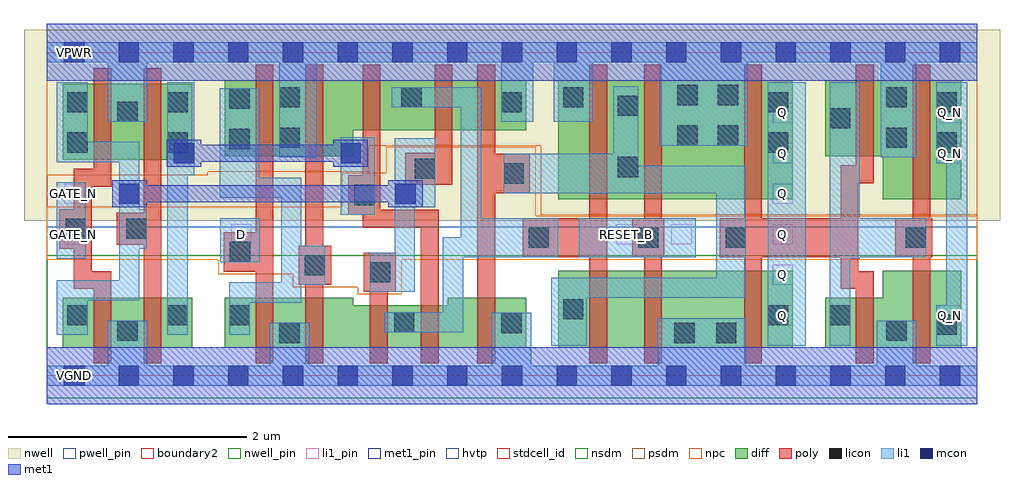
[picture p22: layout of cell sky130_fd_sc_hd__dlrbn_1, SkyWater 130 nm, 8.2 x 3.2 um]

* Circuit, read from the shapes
.subckt sky130_fd_sc_hd__dlrbn_1 D GATE_N Q Q_N RESET_B VGND VNB VPB VPWR
XM1 VGND GATE_N n1 VNB sky130_fd_pr__nfet_01v8 w=0.42 l=0.15
XM2 n2 n1 VGND VNB sky130_fd_pr__nfet_01v8 w=0.42 l=0.15
XM3 VGND D n3 VNB sky130_fd_pr__nfet_01v8 w=0.42 l=0.15
XM4 n4 n3 VGND VNB sky130_fd_pr__nfet_01v8 w=0.42 l=0.15
XM5 n5 n1 n4 VNB sky130_fd_pr__nfet_01v8 w=0.36 l=0.15
XM6 n6 n2 n5 VNB sky130_fd_pr__nfet_01v8 w=0.36 l=0.15
XM7 VGND n7 n6 VNB sky130_fd_pr__nfet_01v8 w=0.42 l=0.15
XM8 n8 n5 n7 VNB sky130_fd_pr__nfet_01v8 w=0.65 l=0.15
XM9 VGND RESET_B n8 VNB sky130_fd_pr__nfet_01v8 w=0.65 l=0.15
XM10 Q n7 VGND VNB sky130_fd_pr__nfet_01v8 w=0.65 l=0.15
XM11 VGND n7 n9 VNB sky130_fd_pr__nfet_01v8 w=0.42 l=0.15
XM12 Q_N n9 VGND VNB sky130_fd_pr__nfet_01v8 w=0.65 l=0.15
XM13 VPWR GATE_N n1 VPB sky130_fd_pr__pfet_01v8_hvt w=0.64 l=0.15
XM14 n2 n1 VPWR VPB sky130_fd_pr__pfet_01v8_hvt w=0.64 l=0.15
XM15 VPWR D n3 VPB sky130_fd_pr__pfet_01v8_hvt w=0.64 l=0.15
XM16 n10 n3 VPWR VPB sky130_fd_pr__pfet_01v8_hvt w=0.64 l=0.15
XM17 n5 n2 n10 VPB sky130_fd_pr__pfet_01v8_hvt w=0.42 l=0.15
XM18 n11 n1 n5 VPB sky130_fd_pr__pfet_01v8_hvt w=0.42 l=0.15
XM19 VPWR n7 n11 VPB sky130_fd_pr__pfet_01v8_hvt w=0.42 l=0.15
XM20 n7 n5 VPWR VPB sky130_fd_pr__pfet_01v8_hvt w=1 l=0.15
XM21 VPWR RESET_B n7 VPB sky130_fd_pr__pfet_01v8_hvt w=1 l=0.15
XM22 Q n7 VPWR VPB sky130_fd_pr__pfet_01v8_hvt w=1 l=0.15
XM23 VPWR n7 n9 VPB sky130_fd_pr__pfet_01v8_hvt w=0.64 l=0.15
XM24 Q_N n9 VPWR VPB sky130_fd_pr__pfet_01v8_hvt w=1 l=0.15
.ends

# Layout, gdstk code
import gdstk
lib = gdstk.Library(unit=1e-6, precision=1e-09)
def R(c, l, rs):  # rectangles x0, y0, x1, y1
    for r in rs: c.add(gdstk.rectangle(r[:2], r[2:], *l))
def A(c, l, x, y, w, h, nx, ny, dx, dy):  # array of equal rectangles
    R(c, l, [(x+i*dx, y+j*dy, x+i*dx+w, y+j*dy+h) for i in range(nx) for j in range(ny)])
def P(c, l, *ps):  # polygons
    for p in ps: c.add(gdstk.Polygon(p, *l))
nwell_pin = (64, 16)
nwell = (64, 20)
diff = (65, 20)
poly = (66, 20)
licon = (66, 44)
li1_pin = (67, 16)
li1 = (67, 20)
mcon = (67, 44)
met1_pin = (68, 16)
met1 = (68, 20)
hvtp = (78, 44)
stdcell_id = (81, 4)
nsdm = (93, 44)
psdm = (94, 20)
npc = (95, 20)
pwell_pin = (122, 16)
boundary2 = (236, 0)

sky130_fd_sc_hd__dlrbn_1 = lib.new_cell('sky130_fd_sc_hd__dlrbn_1')
R(sky130_fd_sc_hd__dlrbn_1, nwell_pin, [(0.15,2.635,0.32,2.805), (0.15,2.635,0.32,2.805), (0.15,2.635,0.32,2.805)])
R(sky130_fd_sc_hd__dlrbn_1, nwell, [(-0.19,1.305,8.01,2.91)])
R(sky130_fd_sc_hd__dlrbn_1, diff, [(0.135,0.235,1.225,0.655), (4.3,0.235,6.27,0.885), (4.3,1.485,6.27,2.485), (0.135,1.815,1.225,2.455)])
P(sky130_fd_sc_hd__dlrbn_1, diff, [(4.03,2.485),(1.495,2.485),(1.495,1.845),(2.575,1.845),(2.575,2.065),(4.03,2.065)],
  [(4.03,0.655),(3.37,0.655),(3.37,0.595),(2.575,0.595),(2.575,0.655),(1.495,0.655),(1.495,0.235),(4.03,0.235)],
  [(7.685,2.485),(6.54,2.485),(6.54,1.845),(7.025,1.845),(7.025,1.485),(7.685,1.485)],
  [(7.685,0.885),(7.025,0.885),(7.025,0.655),(6.54,0.655),(6.54,0.235),(7.685,0.235)])
R(sky130_fd_sc_hd__dlrbn_1, poly, [(4.56,1.28,4.71,2.615), (5.02,1.305,5.17,2.615)])
P(sky130_fd_sc_hd__dlrbn_1, poly, [(0.545,0.88),(0.38,0.88),(0.38,1.59),(0.545,1.59),(0.545,2.585),(0.395,2.585),(0.395,1.74),(0.23,1.74),(0.23,1.4),(0.105,1.4),(0.105,1.07),(0.23,1.07),(0.23,0.73),(0.395,0.73),(0.395,0.105),(0.545,0.105)],
  [(0.965,2.585),(0.815,2.585),(0.815,1.37),(0.59,1.37),(0.59,1.1),(0.815,1.1),(0.815,0.105),(0.965,0.105)],
  [(1.905,2.615),(1.755,2.615),(1.755,1.205),(1.49,1.205),(1.49,0.875),(1.755,0.875),(1.755,0.105),(1.905,0.105)],
  [(2.39,1.095),(2.325,1.095),(2.325,2.615),(2.175,2.615),(2.175,1.095),(2.12,1.095),(2.12,0.765),(2.175,0.765),(2.175,0.105),(2.325,0.105),(2.325,0.765),(2.39,0.765)],
  [(2.935,1.035),(2.665,1.035),(2.665,0.705),(2.715,0.705),(2.715,0.105),(2.865,0.105),(2.865,0.705),(2.935,0.705)],
  [(3.295,1.395),(2.805,1.395),(2.805,2.615),(2.655,2.615),(2.655,1.685),(2.535,1.685),(2.535,1.355),(2.655,1.355),(2.655,1.245),(3.145,1.245),(3.145,0.105),(3.295,0.105)],
  [(3.41,2.615),(3.26,2.615),(3.26,1.875),(3.015,1.875),(3.015,1.605),(3.41,1.605)],
  [(4.06,1.865),(3.77,1.865),(3.77,2.615),(3.62,2.615),(3.62,0.105),(3.77,0.105),(3.77,1.535),(4.06,1.535)],
  [(4.71,1.325),(4,1.325),(4,0.995),(4.56,0.995),(4.56,0.105),(4.71,0.105)],
  [(5.19,1.325),(4.92,1.325),(4.92,0.995),(5.02,0.995),(5.02,0.105),(5.17,0.105),(5.17,0.995),(5.19,0.995)],
  [(6.95,0.88),(6.82,0.88),(6.82,1.62),(6.95,1.62),(6.95,2.615),(6.8,2.615),(6.8,1.77),(6.67,1.77),(6.67,1.325),(6.01,1.325),(6.01,2.615),(5.86,2.615),(5.86,1.325),(5.655,1.325),(5.655,0.995),(5.86,0.995),(5.86,0.105),(6.01,0.105),(6.01,0.995),(6.67,0.995),(6.67,0.73),(6.8,0.73),(6.8,0.105),(6.95,0.105)],
  [(7.44,1.325),(7.425,1.325),(7.425,2.615),(7.275,2.615),(7.275,1.325),(7.13,1.325),(7.13,0.995),(7.275,0.995),(7.275,0.105),(7.425,0.105),(7.425,0.995),(7.44,0.995)])
R(sky130_fd_sc_hd__dlrbn_1, licon, [(1.955,0.275,2.125,0.445), (5.275,0.275,5.445,0.445), (5.625,0.275,5.795,0.445), (0.595,0.295,0.765,0.465), (7.055,0.295,7.225,0.465), (7.475,0.345,7.645,0.515), (3.82,0.36,3.99,0.53), (2.92,0.365,3.09,0.535), (0.175,0.425,0.345,0.595), (1.015,0.425,1.185,0.595), (1.535,0.425,1.705,0.595), (6.06,0.425,6.23,0.595), (6.58,0.425,6.75,0.595), (4.34,0.475,4.51,0.645), (2.715,0.785,2.885,0.955), (2.17,0.845,2.34,1.015), (1.54,0.955,1.71,1.125), (4.05,1.075,4.22,1.245), (4.97,1.075,5.14,1.245), (5.705,1.075,5.875,1.245), (7.22,1.075,7.39,1.245), (0.16,1.15,0.33,1.32), (0.67,1.15,0.84,1.32), (2.585,1.435,2.755,1.605), (3.84,1.615,4.01,1.785), (3.095,1.655,3.265,1.825), (4.8,1.67,4.97,1.84), (0.175,1.875,0.345,2.045), (1.015,1.875,1.185,2.045), (6.06,1.875,6.23,2.045), (7.475,1.875,7.645,2.045), (1.535,1.905,1.705,2.075), (1.955,1.915,2.125,2.085), (7.055,1.915,7.225,2.085), (5.3,1.935,5.47,2.105), (5.64,1.935,5.81,2.105), (6.58,2.08,6.75,2.25), (0.595,2.135,0.765,2.305), (4.8,2.185,4.97,2.355), (0.175,2.215,0.345,2.385), (1.015,2.215,1.185,2.385), (3.82,2.215,3.99,2.385), (6.06,2.215,6.23,2.385), (7.475,2.215,7.645,2.385), (1.535,2.245,1.705,2.415), (1.955,2.255,2.125,2.425), (2.98,2.255,3.15,2.425), (4.34,2.255,4.51,2.425), (7.055,2.255,7.225,2.425), (5.3,2.275,5.47,2.445), (5.64,2.275,5.81,2.445)])
A(sky130_fd_sc_hd__dlrbn_1, li1_pin, 6.1, 0.425, 0.17, 0.17, 1, 6, 0, 0.34)
R(sky130_fd_sc_hd__dlrbn_1, li1_pin, [(7.5,0.425,7.67,0.595), (0.15,1.105,0.32,1.275), (1.55,1.105,1.72,1.275), (4.79,1.105,4.96,1.275), (5.25,1.105,5.42,1.275), (0.15,1.445,0.32,1.615), (7.5,1.785,7.67,1.955), (7.5,2.125,7.67,2.295)])
R(sky130_fd_sc_hd__dlrbn_1, li1, [(6.06,0.255,6.38,2.465), (1.46,0.955,1.79,1.325), (0.085,0.985,0.33,1.625), (4.47,0.995,5.455,1.325), (2.47,1.355,2.755,2.005)])
P(sky130_fd_sc_hd__dlrbn_1, li1, [(7.82,0.085),(7.305,0.085),(7.305,0.465),(6.975,0.465),(6.975,0.085),(5.875,0.085),(5.875,0.485),(5.135,0.485),(5.135,0.085),(4.07,0.085),(4.07,0.53),(3.74,0.53),(3.74,0.085),(2.205,0.085),(2.205,0.445),(1.875,0.445),(1.875,0.085),(0.845,0.085),(0.845,0.465),(0.515,0.465),(0.515,0.085),(0,0.085),(0,-0.085),(7.82,-0.085)],
  [(0.84,1.4),(0.78,1.4),(0.78,1.965),(0.345,1.965),(0.345,2.465),(0.085,2.465),(0.085,1.795),(0.61,1.795),(0.61,0.805),(0.085,0.805),(0.085,0.345),(0.345,0.345),(0.345,0.635),(0.78,0.635),(0.78,1.07),(0.84,1.07)],
  [(1.24,2.465),(1.015,2.465),(1.015,0.345),(1.185,0.345),(1.185,1.685),(1.24,1.685)],
  [(2.34,1.095),(2.14,1.095),(2.14,1.665),(1.785,1.665),(1.785,2.415),(1.455,2.415),(1.455,1.495),(1.97,1.495),(1.97,0.785),(1.535,0.785),(1.535,0.345),(1.705,0.345),(1.705,0.615),(2.14,0.615),(2.14,0.765),(2.34,0.765)],
  [(3.265,1.995),(2.925,1.995),(2.925,1.035),(2.715,1.035),(2.715,0.705),(3.095,0.705),(3.095,1.415),(3.265,1.415)],
  [(4.3,1.325),(3.65,1.325),(3.65,2.425),(2.9,2.425),(2.9,2.255),(3.48,2.255),(3.48,1.165),(3.33,1.165),(3.33,0.535),(2.84,0.535),(2.84,0.365),(3.5,0.365),(3.5,0.995),(4.3,0.995)],
  [(5.875,1.765),(4.97,1.765),(4.97,2.435),(4.76,2.435),(4.76,1.865),(3.84,1.865),(3.84,1.535),(5.625,1.535),(5.625,0.825),(4.24,0.825),(4.24,0.255),(4.54,0.255),(4.54,0.655),(5.875,0.655)],
  [(7.39,1.325),(6.83,1.325),(6.83,2.465),(6.58,2.465),(6.58,0.255),(6.75,0.255),(6.75,0.985),(6.83,0.985),(6.83,0.995),(7.39,0.995)],
  [(7.735,2.465),(7.475,2.465),(7.475,1.785),(7.56,1.785),(7.56,0.595),(7.475,0.595),(7.475,0.255),(7.735,0.255)],
  [(7.82,2.805),(0,2.805),(0,2.635),(0.515,2.635),(0.515,2.135),(0.845,2.135),(0.845,2.635),(1.955,2.635),(1.955,1.835),(2.27,1.835),(2.27,2.635),(3.82,2.635),(3.82,2.135),(4.09,2.135),(4.09,2.635),(4.26,2.635),(4.26,2.135),(4.59,2.135),(4.59,2.635),(5.15,2.635),(5.15,1.935),(5.89,1.935),(5.89,2.635),(7.01,2.635),(7.01,1.835),(7.305,1.835),(7.305,2.635),(7.82,2.635)])
A(sky130_fd_sc_hd__dlrbn_1, mcon, 0.145, -0.085, 0.17, 0.17, 17, 2, 0.46, 2.72)
R(sky130_fd_sc_hd__dlrbn_1, mcon, [(0.61,1.445,0.78,1.615), (2.93,1.445,3.1,1.615), (1.07,1.785,1.24,1.955), (2.47,1.785,2.64,1.955)])
R(sky130_fd_sc_hd__dlrbn_1, met1_pin, [(0.15,-0.085,0.32,0.085), (0.15,-0.085,0.32,0.085), (0.15,2.635,0.32,2.805), (0.15,2.635,0.32,2.805)])
R(sky130_fd_sc_hd__dlrbn_1, met1, [(0,-0.24,7.82,0.24), (0,2.48,7.82,2.96)])
P(sky130_fd_sc_hd__dlrbn_1, met1, [(2.7,1.985),(2.41,1.985),(2.41,1.94),(1.3,1.94),(1.3,1.985),(1.01,1.985),(1.01,1.755),(1.3,1.755),(1.3,1.8),(2.41,1.8),(2.41,1.755),(2.7,1.755)],
  [(3.16,1.645),(2.87,1.645),(2.87,1.6),(0.84,1.6),(0.84,1.645),(0.55,1.645),(0.55,1.415),(0.84,1.415),(0.84,1.46),(2.87,1.46),(2.87,1.415),(3.16,1.415)])
R(sky130_fd_sc_hd__dlrbn_1, hvtp, [(0,1.25,7.82,2.72)])
R(sky130_fd_sc_hd__dlrbn_1, stdcell_id, [(0,0,7.82,2.72)])
R(sky130_fd_sc_hd__dlrbn_1, nsdm, [(0,-0.19,7.82,1.015)])
P(sky130_fd_sc_hd__dlrbn_1, psdm, [(7.82,2.91),(0,2.91),(0,1.685),(1.355,1.685),(1.355,1.715),(2.705,1.715),(2.705,1.935),(4.15,1.935),(4.15,1.355),(7.82,1.355)])
P(sky130_fd_sc_hd__dlrbn_1, npc, [(7.82,1.345),(4.11,1.345),(4.11,1.925),(2.855,1.925),(2.855,1.705),(2.485,1.705),(2.485,1.42),(0,1.42),(0,0.975),(1.44,0.975),(1.44,0.855),(2.07,0.855),(2.07,0.745),(2.615,0.745),(2.615,0.685),(2.985,0.685),(2.985,0.975),(7.82,0.975)])
R(sky130_fd_sc_hd__dlrbn_1, pwell_pin, [(0.15,-0.085,0.32,0.085), (0.15,-0.085,0.32,0.085), (0.15,-0.085,0.32,0.085)])
R(sky130_fd_sc_hd__dlrbn_1, boundary2, [(0,0,7.82,2.72)])
sky130_fd_sc_hd__dlrbn_1.add(gdstk.Label('RESET_B', (4.875,1.19), layer=67, texttype=5))
sky130_fd_sc_hd__dlrbn_1.add(gdstk.Label('Q_N', (7.585,0.51), layer=67, texttype=5))
sky130_fd_sc_hd__dlrbn_1.add(gdstk.Label('RESET_B', (5.295,1.19), layer=67, texttype=5))
sky130_fd_sc_hd__dlrbn_1.add(gdstk.Label('Q', (6.185,1.53), layer=67, texttype=5))
sky130_fd_sc_hd__dlrbn_1.add(gdstk.Label('D', (1.635,1.19), layer=67, texttype=5))
sky130_fd_sc_hd__dlrbn_1.add(gdstk.Label('GATE_N', (0.23,1.19), layer=67, texttype=5))
sky130_fd_sc_hd__dlrbn_1.add(gdstk.Label('Q', (6.185,1.87), layer=67, texttype=5))
sky130_fd_sc_hd__dlrbn_1.add(gdstk.Label('GATE_N', (0.23,1.53), layer=67, texttype=5))
sky130_fd_sc_hd__dlrbn_1.add(gdstk.Label('Q', (6.185,2.21), layer=67, texttype=5))
sky130_fd_sc_hd__dlrbn_1.add(gdstk.Label('Q', (6.185,0.51), layer=67, texttype=5))
sky130_fd_sc_hd__dlrbn_1.add(gdstk.Label('Q_N', (7.585,1.87), layer=67, texttype=5))
sky130_fd_sc_hd__dlrbn_1.add(gdstk.Label('Q', (6.185,1.19), layer=67, texttype=5))
sky130_fd_sc_hd__dlrbn_1.add(gdstk.Label('Q_N', (7.585,2.21), layer=67, texttype=5))
sky130_fd_sc_hd__dlrbn_1.add(gdstk.Label('Q', (6.185,0.85), layer=67, texttype=5))
sky130_fd_sc_hd__dlrbn_1.add(gdstk.Label('VGND', (0.235,0), layer=68, texttype=5))
sky130_fd_sc_hd__dlrbn_1.add(gdstk.Label('VPWR', (0.235,2.72), layer=68, texttype=5))
sky130_fd_sc_hd__dlrbn_1.add(gdstk.Label('VPWR', (0.235,2.72), layer=68, texttype=5))
sky130_fd_sc_hd__dlrbn_1.add(gdstk.Label('VGND', (0.235,0), layer=68, texttype=5))
sky130_fd_sc_hd__dlrbn_1.add(gdstk.Label('VPB', (0.235,2.72), layer=64, texttype=5))
sky130_fd_sc_hd__dlrbn_1.add(gdstk.Label('VPB', (0.235,2.72), layer=64, texttype=5))
sky130_fd_sc_hd__dlrbn_1.add(gdstk.Label('VPB', (0.235,2.72), layer=64, texttype=5))
sky130_fd_sc_hd__dlrbn_1.add(gdstk.Label('VNB', (0.235,0), layer=64, texttype=59))
sky130_fd_sc_hd__dlrbn_1.add(gdstk.Label('VNB', (0.235,0), layer=64, texttype=59))
sky130_fd_sc_hd__dlrbn_1.add(gdstk.Label('VNB', (0.235,0), layer=64, texttype=59))
sky130_fd_sc_hd__dlrbn_1.add(gdstk.Label('dlrbn_1', (0,0), layer=83, texttype=44))

lib.write_gds('sky130_fd_sc_hd__dlrbn_1.gds')
